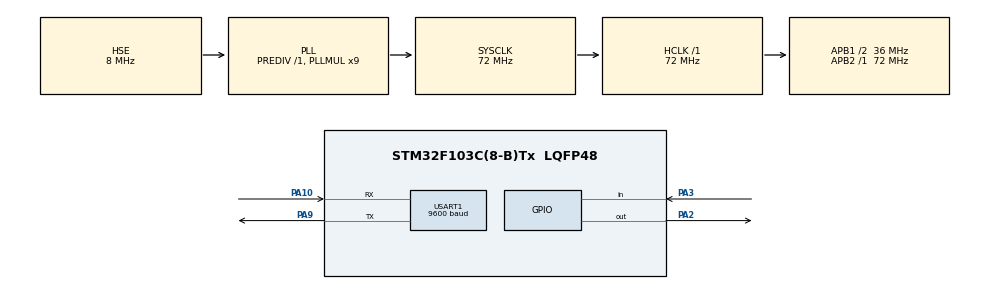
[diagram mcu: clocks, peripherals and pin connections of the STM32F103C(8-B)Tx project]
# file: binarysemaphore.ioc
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Mcu.Family=STM32F1
Mcu.Name=STM32F103C(8-B)Tx
Mcu.Package=LQFP48
NVIC.PriorityGroup=NVIC_PRIORITYGROUP_4
NVIC.TIM4_IRQn=true\:15\:0\:true\:false\:true\:false\:true\:true
NVIC.TimeBase=TIM4_IRQn
NVIC.TimeBaseIP=TIM4
PA10.Mode=Asynchronous
PA10.Signal=USART1_RX
PA13.Mode=Serial_Wire
PA13.Signal=SYS_JTMS-SWDIO
PA14.Mode=Serial_Wire
PA14.Signal=SYS_JTCK-SWCLK
PA2.Signal=GPIO_Output
PA3.GPIO_PuPd=GPIO_PULLDOWN
PA3.Signal=GPIO_Input
PA9.Mode=Asynchronous
PA9.Signal=USART1_TX
PC14-OSC32_IN.Mode=LSE-External-Oscillator
PC14-OSC32_IN.Signal=RCC_OSC32_IN
PC15-OSC32_OUT.Mode=LSE-External-Oscillator
PC15-OSC32_OUT.Signal=RCC_OSC32_OUT
PD0-OSC_IN.Mode=HSE-External-Oscillator
PD0-OSC_IN.Signal=RCC_OSC_IN
PD1-OSC_OUT.Mode=HSE-External-Oscillator
PD1-OSC_OUT.Signal=RCC_OSC_OUT
ProjectManager.HeapSize=0x200
ProjectManager.StackSize=0x400
ProjectManager.TargetToolchain=CMake
RCC.AHBFreq_Value=72000000
RCC.APB1CLKDivider=RCC_HCLK_DIV2
RCC.APB1Freq_Value=36000000
RCC.APB1TimFreq_Value=72000000
RCC.APB2Freq_Value=72000000
RCC.APB2TimFreq_Value=72000000
RCC.HCLKFreq_Value=72000000
RCC.PLLMUL=RCC_PLL_MUL9
RCC.PLLSourceVirtual=RCC_PLLSOURCE_HSE
RCC.SYSCLKFreq_VALUE=72000000
RCC.SYSCLKSource=RCC_SYSCLKSOURCE_PLLCLK
RCC.USBFreq_Value=72000000
USART1.BaudRate=9600
USART1.VirtualMode=VM_ASYNC
VP_SYS_VS_tim4.Mode=TIM4
board=custom

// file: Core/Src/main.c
/* USER CODE BEGIN Header */
/**
  ******************************************************************************
  * @file           : main.c
  * @brief          : Main program body
  ******************************************************************************
  * @attention
  *
  * Copyright (c) 2026 STMicroelectronics.
  * All rights reserved.
  *
  * This software is licensed under terms that can be found in the LICENSE file
  * in the root directory of this software component.
  * If no LICENSE file comes with this software, it is provided AS-IS.
  *
  ******************************************************************************
  */
/* USER CODE END Header */
#include "main.h"
#include "usart.h"
#include "gpio.h"

/* USER CODE BEGIN Includes */
#include "FreeRTOS.h"
#include "portmacro.h"
#include "projdefs.h"
#include "stm32f103xb.h"
#include "stm32f1xx_hal.h"
#include "stm32f1xx_hal_gpio.h"
#include "task.h"
#include <stdio.h>
#include <string.h>
#include "semphr.h"
/* USER CODE END Includes */

/* USER CODE BEGIN PV */
TaskHandle_t task1_handle = NULL;
TaskHandle_t task2_handle = NULL;
TaskHandle_t start_task_handler = NULL;
SemaphoreHandle_t BinarySemaphoreHandle;
/* USER CODE END PV */

void SystemClock_Config(void);
/* USER CODE BEGIN PFP */
void FreeRTOS_Start(void);
void Start_Task(void *pvParameters);
void Task1(void *argument);
void Task2(void *argument);
/* USER CODE END PFP */

int main(void)
{

  /* MCU Configuration--------------------------------------------------------*/

  /* Reset of all peripherals, Initializes the Flash interface and the Systick. */
  HAL_Init();

  /* Configure the system clock */
  SystemClock_Config();

  /* Initialize all configured peripherals */
  MX_GPIO_Init();
  MX_USART1_UART_Init();
  /* USER CODE BEGIN 2 */

  BinarySemaphoreHandle = xSemaphoreCreateBinary();
  if (BinarySemaphoreHandle == NULL)
  {
    printf("Create Semaphor Fail\r\n");
  }

  FreeRTOS_Start();

  /* USER CODE END 2 */

  /* Infinite loop */
  while (1)
  {

  }
}

void SystemClock_Config(void)
{
  RCC_OscInitTypeDef RCC_OscInitStruct = {0};
  RCC_ClkInitTypeDef RCC_ClkInitStruct = {0};

  /** Initializes the RCC Oscillators according to the specified parameters
  * in the RCC_OscInitTypeDef structure.
  */
  RCC_OscInitStruct.OscillatorType = RCC_OSCILLATORTYPE_HSE;
  RCC_OscInitStruct.HSEState = RCC_HSE_ON;
  RCC_OscInitStruct.HSEPredivValue = RCC_HSE_PREDIV_DIV1;
  RCC_OscInitStruct.HSIState = RCC_HSI_ON;
  RCC_OscInitStruct.PLL.PLLState = RCC_PLL_ON;
  RCC_OscInitStruct.PLL.PLLSource = RCC_PLLSOURCE_HSE;
  RCC_OscInitStruct.PLL.PLLMUL = RCC_PLL_MUL9;
  if (HAL_RCC_OscConfig(&RCC_OscInitStruct) != HAL_OK)
  {
    Error_Handler();
  }

  /** Initializes the CPU, AHB and APB buses clocks
  */
  RCC_ClkInitStruct.ClockType = RCC_CLOCKTYPE_HCLK|RCC_CLOCKTYPE_SYSCLK
                              |RCC_CLOCKTYPE_PCLK1|RCC_CLOCKTYPE_PCLK2;
  RCC_ClkInitStruct.SYSCLKSource = RCC_SYSCLKSOURCE_PLLCLK;
  RCC_ClkInitStruct.AHBCLKDivider = RCC_SYSCLK_DIV1;
  RCC_ClkInitStruct.APB1CLKDivider = RCC_HCLK_DIV2;
  RCC_ClkInitStruct.APB2CLKDivider = RCC_HCLK_DIV1;

  if (HAL_RCC_ClockConfig(&RCC_ClkInitStruct, FLASH_LATENCY_2) != HAL_OK)
  {
    Error_Handler();
  }
}

/* USER CODE BEGIN 4 */
int __io_putchar(int ch)
{
  uint8_t data = (uint8_t)ch;
  HAL_UART_Transmit(&huart1, &data, 1, HAL_MAX_DELAY);
  return ch;
}

void FreeRTOS_Start(void)
{
  xTaskCreate(Start_Task, "Start_Task", 256, NULL, 1, &start_task_handler);
  vTaskStartScheduler();
}

void Start_Task(void * pvParameters)
{
  taskENTER_CRITICAL();               /* 進入臨界區 */

  xTaskCreate(Task1, "Task1", 128, NULL, 2, &task1_handle);
  xTaskCreate(Task2, "Task2", 128, NULL, 3, &task2_handle);

  vTaskDelete(NULL);
  taskEXIT_CRITICAL();                /* 退出臨界區 */
}

// 當按下 key，釋放號誌
void Task1(void *argument)
{
  BaseType_t result;

  for (;;)
  {
    if (HAL_GPIO_ReadPin(GPIOA, GPIO_PIN_3) == GPIO_PIN_SET)
    {
      vTaskDelay(pdMS_TO_TICKS(20));
      if (HAL_GPIO_ReadPin(GPIOA, GPIO_PIN_3) == GPIO_PIN_SET)
      {
        result = xSemaphoreGive(BinarySemaphoreHandle);
        if (result == pdPASS)
        {
          printf("Release Success\r\n");
        }
        else
        {
          printf("Release Fail\r\n");
        }
        while (HAL_GPIO_ReadPin(GPIOA, GPIO_PIN_3) == GPIO_PIN_SET)
        {
          vTaskDelay(pdMS_TO_TICKS(10));
        }
      }
      vTaskDelay(pdMS_TO_TICKS(20));
    }
    vTaskDelay(pdMS_TO_TICKS(50));
  }
}

// 取得號誌，並翻轉 LED
void Task2(void *argument)
{
  for (;;)
  {
    xSemaphoreTake(BinarySemaphoreHandle, portMAX_DELAY);
    printf("Receive\r\n");
    HAL_GPIO_TogglePin(GPIOA, GPIO_PIN_2);
  }
}

/* USER CODE END 4 */

void HAL_TIM_PeriodElapsedCallback(TIM_HandleTypeDef *htim)
{
  if (htim->Instance == TIM4)
  {
    HAL_IncTick();
  }
}

void Error_Handler(void)
{
  __disable_irq();
  while (1)
  {
  }
}
